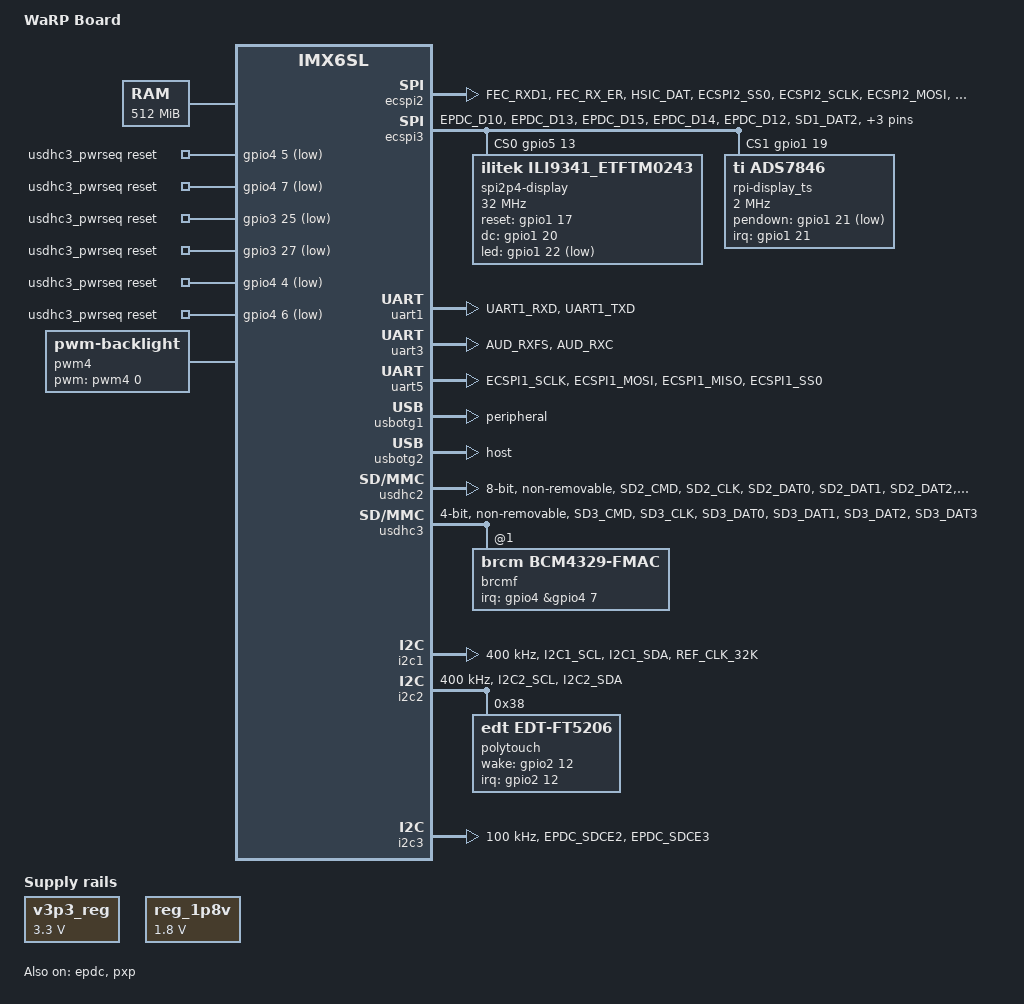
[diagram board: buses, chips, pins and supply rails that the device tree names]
/*
 * Copyright 2014, 2015 O.S. Systems Software LTDA.
 * 
 * Copyright 2015 Revolution Robotics, Inc.
 *
 * This file is dual-licensed: you can use it either under the terms
 * of the GPL or the X11 license, at your option. Note that this dual
 * licensing only applies to this file, and not this project as a
 * whole.
 *
 *  a) This file is free software; you can redistribute it and/or
 *     modify it under the terms of the GNU General Public License as
 *     published by the Free Software Foundation; either version 2 of
 *     the License, or (at your option) any later version.
 *
 *     This file is distributed in the hope that it will be useful,
 *     but WITHOUT ANY WARRANTY; without even the implied warranty of
 *     MERCHANTABILITY or FITNESS FOR A PARTICULAR PURPOSE.  See the
 *     GNU General Public License for more details.
 *
 *     You should have received a copy of the GNU General Public
 *     License along with this file; if not, write to the Free
 *     Software Foundation, Inc., 51 Franklin St, Fifth Floor, Boston,
 *     MA 02110-1301 USA
 *
 * Or, alternatively,
 *
 *  b) Permission is hereby granted, free of charge, to any person
 *     obtaining a copy of this software and associated documentation
 *     files (the "Software"), to deal in the Software without
 *     restriction, including without limitation the rights to use,
 *     copy, modify, merge, publish, distribute, sublicense, and/or
 *     sell copies of the Software, and to permit persons to whom the
 *     Software is furnished to do so, subject to the following
 *     conditions:
 *
 *     The above copyright notice and this permission notice shall be
 *     included in all copies or substantial portions of the Software.
 *
 *     THE SOFTWARE IS PROVIDED "AS IS", WITHOUT WARRANTY OF ANY KIND,
 *     EXPRESS OR IMPLIED, INCLUDING BUT NOT LIMITED TO THE WARRANTIES
 *     OF MERCHANTABILITY, FITNESS FOR A PARTICULAR PURPOSE AND
 *     NONINFRINGEMENT. IN NO EVENT SHALL THE AUTHORS OR COPYRIGHT
 *     HOLDERS BE LIABLE FOR ANY CLAIM, DAMAGES OR OTHER LIABILITY,
 *     WHETHER IN AN ACTION OF CONTRACT, TORT OR OTHERWISE, ARISING
 *     FROM, OUT OF OR IN CONNECTION WITH THE SOFTWARE OR THE USE OR
 *     OTHER DEALINGS IN THE SOFTWARE.
 */

/dts-v1/;

#include <dt-bindings/gpio/gpio.h>
#include "imx6sl.dtsi"

/ {
	model = "WaRP Board";
	compatible = "warp,imx6sl-warp", "fsl,imx6sl";

	memory {
		reg = <0x80000000 0x20000000>;
	};

	regulators {
		compatible = "simple-bus";
		#address-cells = <1>;
		#size-cells = <0>;

		// Always on supply to EPD panel required for epdc driver
		v3p3_reg: regulator@0 {
			compatible = "regulator-fixed";
			reg = <0>;
			regulator-name = "V3P3";
			regulator-min-microvolt = <3300000>;
			regulator-max-microvolt = <3300000>;
		};

		reg_1p8v: regulator@2 {
			compatible = "regulator-fixed";
			reg = <2>;
			regulator-name = "1P8V";
			regulator-min-microvolt = <1800000>;
			regulator-max-microvolt = <1800000>;
		};
	};

	usdhc3_pwrseq: usdhc3_pwrseq {
		compatible = "mmc-pwrseq-simple";
		reset-gpios = <&gpio4 5 GPIO_ACTIVE_LOW>, 	/* WL_REG_ON */
			      <&gpio4 7 GPIO_ACTIVE_LOW>, 	/* WL_HOSTWAKE */
			      <&gpio3 25 GPIO_ACTIVE_LOW>, 	/* BT_REG_ON */
			      <&gpio3 27 GPIO_ACTIVE_LOW>,	/* BT_HOSTWAKE */
			      <&gpio4 4 GPIO_ACTIVE_LOW>, 	/* BT_WAKE */
			      <&gpio4 6 GPIO_ACTIVE_LOW>; 	/* BT_RST_N */
	};

	pwm4 {
		compatible = "pwm-backlight";
		pwms = <&pwm4 0 100>;
		brightness-levels = <0 4 8 16 32 64 128 255>;
		default-brightness-level = <6>;
		status = "okay";
	};

};

&epdc {
	pinctrl-names = "default";
	pinctrl-0 = <&pinctrl_epdc>;
	V3P3 = <&v3p3_reg>;
	VCOM = <&vcom_reg>;
	DISPLAY = <&disp_reg>;
	status = "okay";
};

&ecspi2 {
	fsl,spi-num-chipselects = <1>;
	cs-gpios = <&gpio4 15 0>;
	pinctrl-names = "default";
	pinctrl-0 = <&pinctrl_ecspi2>;
	status = "okay";
};

&ecspi3 {
	fsl,spi-num-chipselects = <2>;
	cs-gpios = <&gpio5 13 0
		    &gpio1 19 0>;
	pinctrl-names = "default";
	pinctrl-0 = <&pinctrl_ecspi3>;
	status = "okay";


	spi2p4-display@0{
		compatible = "ilitek,ili9341_etftm0243";
		reg = <0>;
		status = "okay";

		spi-max-frequency = <32000000>;
		rotate = <270>;
		bgr;
		fps = <30>;
		buswidth = <8>;
		reset-gpios = <&gpio1 17 0>;
		dc-gpios = <&gpio1 20 0>;
		led-gpios = <&gpio1 22 1>;
		debug = <0>;
	};

	rpi-display_ts@1 {
		compatible = "ti,ads7846";
		reg = <1>;
		status = "okay";

		spi-max-frequency = <2000000>;
		interrupt-parent = <&gpio1>;
		interrupts = <21 0>;
		pendown-gpio = <&gpio1 21 1>;
		ti,swap-xy;
		ti,vref-mv = <2500>;
		ti,keep-vref-on;
		ti,x-min = /bits/ 16 <0>;
		ti,x-max = /bits/ 16 <3688>;
		ti,y-min = /bits/ 16 <0>;
		ti,y-max = /bits/ 16 <4095>;
		ti,x-plate-ohms = /bits/ 16 <150>;
		ti,pressure-max = /bits/ 16 <255>;
	};
};

&uart1 {
	pinctrl-names = "default";
	pinctrl-0 = <&pinctrl_uart1>;
	status = "okay";
};

&uart3 {
	pinctrl-names = "default";
	pinctrl-0 = <&pinctrl_uart3>;
	status = "okay";
};

&uart5 {
	pinctrl-names = "default";
	pinctrl-0 = <&pinctrl_uart5>;
	fsl,uart-has-rtscts;
	status = "okay";
};

&usbotg1 {
	dr_mode = "peripheral";
	disable-over-current;
	status = "okay";
};

&usbotg2 {
	dr_mode = "host";
	disable-over-current;
	status = "okay";
};

&usdhc2 {
	pinctrl-names = "default", "state_100mhz", "state_200mhz";
	pinctrl-0 = <&pinctrl_usdhc2>;
	pinctrl-1 = <&pinctrl_usdhc2_100mhz>;
	pinctrl-2 = <&pinctrl_usdhc2_200mhz>;
	bus-width = <8>;
	non-removable;
	status = "okay";
};

&usdhc3 {
	pinctrl-names = "default", "state_100mhz", "state_200mhz";
	pinctrl-0 = <&pinctrl_usdhc3>;
	pinctrl-1 = <&pinctrl_usdhc3_100mhz>;
	pinctrl-2 = <&pinctrl_usdhc3_200mhz>;
	bus-width = <4>;
	non-removable;
	keep-power-in-suspend;
	enable-sdio-wakeup;
	mmc-pwrseq = <&usdhc3_pwrseq>;
	status = "okay";

	brcmf: bcrmf@1 {
		compatible = "brcm,bcm4329-fmac";
		interrupt-parent = <&gpio4>;
		interrupts = <&gpio4 7 GPIO_ACTIVE_LOW>;
		interrupt-names = "host-wake";
	};


};

&pxp {
	status = "okay";
};

&iomuxc {
	imx6sl-warp {
		pinctrl_ecspi2: ecspi2grp {
			fsl,pins = <
				MX6SL_PAD_FEC_RXD1__GPIO4_IO18		0x41b0b1 // ACCL_INT1
				MX6SL_PAD_FEC_RX_ER__GPIO4_IO19		0x41b0b1 // ACCL_INT2
				MX6SL_PAD_HSIC_DAT__GPIO3_IO19		0x41b0b1 // FXOS_RESET
				MX6SL_PAD_ECSPI2_SS0__GPIO4_IO15	0x41b0b1 // FX8700 CS GPIO
				MX6SL_PAD_ECSPI2_SCLK__ECSPI2_SCLK	0x41b0b1
				MX6SL_PAD_ECSPI2_MOSI__ECSPI2_MOSI	0x41b0b1
				MX6SL_PAD_ECSPI2_MISO__ECSPI2_MISO	0x41b0b1
			>;
		};

		pinctrl_ecspi3: ecspi3grp {
			fsl,pins = <
				MX6SL_PAD_EPDC_D10__GPIO1_IO17		0x1b0b1 // ILI9341 RESET
				MX6SL_PAD_EPDC_D13__GPIO1_IO20 		0x1b0b1 // ILI9341 DC
				MX6SL_PAD_EPDC_D15__GPIO1_IO22		0x1b0b1 // ILI9341 LED_EN
				MX6SL_PAD_EPDC_D14__GPIO1_IO21		0x1b0b1 // TOUCH INT
				MX6SL_PAD_EPDC_D12__GPIO1_IO19		0x1b0b1 // TOUCH CS GPIO
				MX6SL_PAD_SD1_DAT2__GPIO5_IO13		0x1b0b1 // ILI9341 CS GPIO
				MX6SL_PAD_EPDC_D11__ECSPI3_SCLK		0x1b0b1
				MX6SL_PAD_EPDC_D8__ECSPI3_MOSI		0x1b0b1
				MX6SL_PAD_EPDC_D9__ECSPI3_MISO		0x1b0b1
			>;
		};

		pinctrl_epdc: epdcgrp {
			fsl,pins = <
				MX6SL_PAD_EPDC_D0__EPDC_DATA00	0x1b0B0
				MX6SL_PAD_EPDC_D1__EPDC_DATA01	0x1b0B0
				MX6SL_PAD_EPDC_D2__EPDC_DATA02	0x1b0B0
				MX6SL_PAD_EPDC_D3__EPDC_DATA03	0x1b0B0
				MX6SL_PAD_EPDC_D4__EPDC_DATA04	0x1b0B0
				MX6SL_PAD_EPDC_D5__EPDC_DATA05	0x1b0B0
				MX6SL_PAD_EPDC_D6__EPDC_DATA06	0x1b0B0
				MX6SL_PAD_EPDC_D7__EPDC_DATA07	0x1b0B0
				MX6SL_PAD_EPDC_GDCLK__EPDC_GDCLK 0x1b0B0
				MX6SL_PAD_EPDC_GDSP__EPDC_GDSP	 0x1b0B0
				MX6SL_PAD_EPDC_GDOE__EPDC_GDOE	 0x1b0B0
				MX6SL_PAD_EPDC_GDRL__EPDC_GDRL	 0x1b0B0
				MX6SL_PAD_EPDC_SDCLK__EPDC_SDCLK_P 0x1b0B0
				MX6SL_PAD_EPDC_SDOE__EPDC_SDOE	 0x1b0B0
				MX6SL_PAD_EPDC_SDLE__EPDC_SDLE	 0x1b0B0
				MX6SL_PAD_EPDC_SDSHR__EPDC_SDSHR 0x1b0B0
				MX6SL_PAD_EPDC_BDR0__EPDC_BDR0	 0x1b0B0
				MX6SL_PAD_EPDC_SDCE0__EPDC_SDCE0 0x1b0B0
			>;
		};

		pinctrl_uart1: uart1grp {
			fsl,pins = <
				MX6SL_PAD_UART1_RXD__UART1_RX_DATA	0x41b0b1
				MX6SL_PAD_UART1_TXD__UART1_TX_DATA	0x41b0b1
			>;
		};

		pinctrl_uart3: uart3grp {
			fsl,pins = <
				MX6SL_PAD_AUD_RXFS__UART3_RX_DATA	0x1b0b1
				MX6SL_PAD_AUD_RXC__UART3_TX_DATA	0x1b0b1
			>;
		};

		pinctrl_uart5: uart5grp {
			fsl,pins = <
				MX6SL_PAD_ECSPI1_SCLK__UART5_RX_DATA	0x41b0b1
				MX6SL_PAD_ECSPI1_MOSI__UART5_TX_DATA	0x41b0b1
				MX6SL_PAD_ECSPI1_MISO__UART5_RTS_B	0x4130b1
				MX6SL_PAD_ECSPI1_SS0__UART5_CTS_B	0x4130b1
			>;
		};

		pinctrl_usdhc2: usdhc2grp {
			fsl,pins = <
				MX6SL_PAD_SD2_CMD__SD2_CMD		0x417059
				MX6SL_PAD_SD2_CLK__SD2_CLK		0x410059
				MX6SL_PAD_SD2_DAT0__SD2_DATA0		0x417059
				MX6SL_PAD_SD2_DAT1__SD2_DATA1		0x417059
				MX6SL_PAD_SD2_DAT2__SD2_DATA2		0x417059
				MX6SL_PAD_SD2_DAT3__SD2_DATA3		0x417059
				MX6SL_PAD_SD2_DAT4__SD2_DATA4		0x417059
				MX6SL_PAD_SD2_DAT5__SD2_DATA5		0x417059
				MX6SL_PAD_SD2_DAT6__SD2_DATA6		0x417059
				MX6SL_PAD_SD2_DAT7__SD2_DATA7		0x417059
				MX6SL_PAD_SD2_RST__SD2_RESET		0x417059
			>;
		};

		pinctrl_usdhc2_100mhz: usdhc2grp100mhz {
			fsl,pins = <
				MX6SL_PAD_SD2_CMD__SD2_CMD		0x4170b9
				MX6SL_PAD_SD2_CLK__SD2_CLK		0x4100b9
				MX6SL_PAD_SD2_DAT0__SD2_DATA0		0x4170b9
				MX6SL_PAD_SD2_DAT1__SD2_DATA1		0x4170b9
				MX6SL_PAD_SD2_DAT2__SD2_DATA2		0x4170b9
				MX6SL_PAD_SD2_DAT3__SD2_DATA3		0x4170b9
				MX6SL_PAD_SD2_DAT4__SD2_DATA4		0x4170b9
				MX6SL_PAD_SD2_DAT5__SD2_DATA5		0x4170b9
				MX6SL_PAD_SD2_DAT6__SD2_DATA6		0x4170b9
				MX6SL_PAD_SD2_DAT7__SD2_DATA7		0x4170b9
				MX6SL_PAD_SD2_RST__SD2_RESET		0x4170b9
			>;
		};

		pinctrl_usdhc2_200mhz: usdhc2grp200mhz {
			fsl,pins = <
				MX6SL_PAD_SD2_CMD__SD2_CMD		0x4170f9
				MX6SL_PAD_SD2_CLK__SD2_CLK		0x4100f9
				MX6SL_PAD_SD2_DAT0__SD2_DATA0		0x4170f9
				MX6SL_PAD_SD2_DAT1__SD2_DATA1		0x4170f9
				MX6SL_PAD_SD2_DAT2__SD2_DATA2		0x4170f9
				MX6SL_PAD_SD2_DAT3__SD2_DATA3		0x4170f9
				MX6SL_PAD_SD2_DAT4__SD2_DATA4		0x4170f9
				MX6SL_PAD_SD2_DAT5__SD2_DATA5		0x4170f9
				MX6SL_PAD_SD2_DAT6__SD2_DATA6		0x4170f9
				MX6SL_PAD_SD2_DAT7__SD2_DATA7		0x4170f9
				MX6SL_PAD_SD2_RST__SD2_RESET		0x4170f9
			>;
		};

		pinctrl_usdhc3: usdhc3grp {
			fsl,pins = <
				MX6SL_PAD_SD3_CMD__SD3_CMD		0x417059
				MX6SL_PAD_SD3_CLK__SD3_CLK		0x410059
				MX6SL_PAD_SD3_DAT0__SD3_DATA0		0x417059
				MX6SL_PAD_SD3_DAT1__SD3_DATA1		0x417059
				MX6SL_PAD_SD3_DAT2__SD3_DATA2		0x417059
				MX6SL_PAD_SD3_DAT3__SD3_DATA3		0x417059
			>;
		};

		pinctrl_usdhc3_100mhz: usdhc3grp100mhz {
			fsl,pins = <
				MX6SL_PAD_SD3_CMD__SD3_CMD		0x4170b9
				MX6SL_PAD_SD3_CLK__SD3_CLK		0x4100b9
				MX6SL_PAD_SD3_DAT0__SD3_DATA0		0x4170b9
				MX6SL_PAD_SD3_DAT1__SD3_DATA1		0x4170b9
				MX6SL_PAD_SD3_DAT2__SD3_DATA2		0x4170b9
				MX6SL_PAD_SD3_DAT3__SD3_DATA3		0x4170b9
			>;
		};

		pinctrl_usdhc3_200mhz: usdhc3grp200mhz {
			fsl,pins = <
				MX6SL_PAD_SD3_CMD__SD3_CMD		0x4170f9
				MX6SL_PAD_SD3_CLK__SD3_CLK		0x4100f9
				MX6SL_PAD_SD3_DAT0__SD3_DATA0		0x4170f9
				MX6SL_PAD_SD3_DAT1__SD3_DATA1		0x4170f9
				MX6SL_PAD_SD3_DAT2__SD3_DATA2		0x4170f9
				MX6SL_PAD_SD3_DAT3__SD3_DATA3		0x4170f9
			>;
		};
		pinctrl_i2c1: i2c1grp {
			fsl,pins = <
				MX6SL_PAD_I2C1_SCL__I2C1_SCL	0x4041b8b1
				MX6SL_PAD_I2C1_SDA__I2C1_SDA	0x4041b8b1
			>;
		};
		pinctrl_pmic: pmicgrp {
			fsl,pins = <
				MX6SL_PAD_REF_CLK_32K__GPIO3_IO22 0x41b0b1 /* IRQ */
			>;
		};

		pinctrl_i2c2: i2c2grp {
			fsl,pins = <
				MX6SL_PAD_I2C2_SCL__I2C2_SCL 			0x4001a848
				MX6SL_PAD_I2C2_SDA__I2C2_SDA 			0x4001a848
			>;
		};

		pinctrl_i2c3: i2c3grp {
			fsl,pins = <
				MX6SL_PAD_EPDC_SDCE2__I2C3_SCL 			0x4001b8b1
				MX6SL_PAD_EPDC_SDCE3__I2C3_SDA 			0x4001b8b1
			>;
		};

		pinctrl_edt_ft5x06: edt_ft5x06grp {
			fsl,pins = <
				MX6SL_PAD_EPDC_PWRINT__GPIO2_IO12		0x4001a848 // TOUCH_INT
			>;
		};

		pinctrl_pwm4: pwm4grp {
			fsl,pins = <
				MX6SL_PAD_AUD_MCLK__PWM4_OUT 0x4000D9
			>;
		};

		pinctrl_pwm4_sleep: pwm4grp-sleep {
			fsl,pins = <
				MX6SL_PAD_AUD_MCLK__GPIO1_IO06 0x403080
			>;
		};
	};
};

/include/ "max77696.dtsi"

&i2c1 {
	clock-frequency = <400000>;
	pinctrl-names = "default";
	pinctrl-0 = 	<&pinctrl_i2c1
			 &pinctrl_pmic>;
	status = "okay";
};

&i2c2 {
	clock-frequency = <400000>;
	pinctrl-names = "default";
	pinctrl-0 = 	<&pinctrl_i2c2>;
	status = "okay";

	polytouch: edt-ft5x06@38 {
		compatible = "edt,edt-ft5206", "edt,edt-ft5x06";
		reg = <0x38>;
		pinctrl-names = "default";
		pinctrl-0 = <&pinctrl_edt_ft5x06>;
		interrupt-parent = <&gpio2>;
		interrupts = <12 2>;
		wake-gpios = <&gpio2 12 0>;
	};
};

&i2c3 {
	clock-frequency = <100000>;
	pinctrl-names = "default";
	pinctrl-0 = 	<&pinctrl_i2c3>;
	status = "okay";
};
